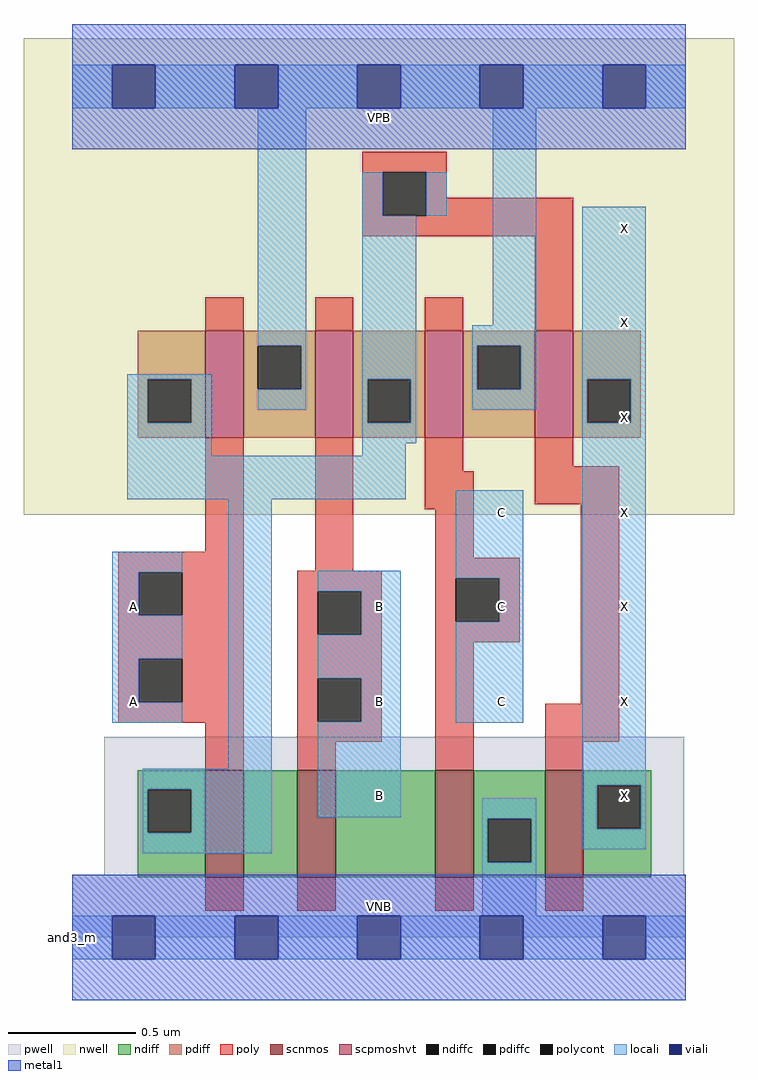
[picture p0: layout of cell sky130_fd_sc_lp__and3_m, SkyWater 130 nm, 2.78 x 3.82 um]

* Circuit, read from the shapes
.subckt sky130_fd_sc_lp__and3_m A B C VGND VNB VPB VPWR X
XM1 n1 A n2 VNB sky130_fd_pr__nfet_01v8 w=0.42 l=0.15
XM2 n3 B n1 VNB sky130_fd_pr__nfet_01v8 w=0.42 l=0.15
XM3 VGND C n3 VNB sky130_fd_pr__nfet_01v8 w=0.42 l=0.15
XM4 X n2 VGND VNB sky130_fd_pr__nfet_01v8 w=0.42 l=0.15
XM5 VPWR A n2 VPB sky130_fd_pr__pfet_01v8_hvt w=0.42 l=0.15
XM6 n2 B VPWR VPB sky130_fd_pr__pfet_01v8_hvt w=0.42 l=0.15
XM7 VPWR C n2 VPB sky130_fd_pr__pfet_01v8_hvt w=0.42 l=0.15
XM8 X n2 VPWR VPB sky130_fd_pr__pfet_01v8_hvt w=0.42 l=0.15
.ends

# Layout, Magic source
magic
tech sky130A
magscale 1 2
<< nwell >>
rect -38 331 518 704
<< pwell >>
rect 25 49 479 157
rect 0 0 480 49
<< scnmos >>
rect 104 47 134 131
rect 176 47 206 131
rect 284 47 314 131
rect 370 47 400 131
<< scpmoshvt >>
rect 104 391 134 475
rect 190 391 220 475
rect 276 391 306 475
rect 362 391 392 475
<< ndiff >>
rect 51 116 104 131
rect 51 82 59 116
rect 93 82 104 116
rect 51 47 104 82
rect 134 47 176 131
rect 206 47 284 131
rect 314 93 370 131
rect 314 59 325 93
rect 359 59 370 93
rect 314 47 370 59
rect 400 119 453 131
rect 400 85 411 119
rect 445 85 453 119
rect 400 47 453 85
<< pdiff >>
rect 51 437 104 475
rect 51 403 59 437
rect 93 403 104 437
rect 51 391 104 403
rect 134 463 190 475
rect 134 429 145 463
rect 179 429 190 463
rect 134 391 190 429
rect 220 437 276 475
rect 220 403 231 437
rect 265 403 276 437
rect 220 391 276 403
rect 306 463 362 475
rect 306 429 317 463
rect 351 429 362 463
rect 306 391 362 429
rect 392 437 445 475
rect 392 403 403 437
rect 437 403 445 437
rect 392 391 445 403
<< ndiffc >>
rect 59 82 93 116
rect 325 59 359 93
rect 411 85 445 119
<< pdiffc >>
rect 59 403 93 437
rect 145 429 179 463
rect 231 403 265 437
rect 317 429 351 463
rect 403 403 437 437
<< poly >>
rect 227 599 293 615
rect 227 565 243 599
rect 277 579 293 599
rect 277 565 392 579
rect 227 549 392 565
rect 104 475 134 501
rect 190 475 220 501
rect 276 475 306 501
rect 362 475 392 549
rect 104 302 134 391
rect 36 286 134 302
rect 190 287 220 391
rect 276 365 306 391
rect 362 369 392 391
rect 276 335 314 365
rect 362 339 428 369
rect 284 297 314 335
rect 36 252 52 286
rect 86 252 134 286
rect 36 218 134 252
rect 36 184 52 218
rect 86 184 134 218
rect 36 168 134 184
rect 104 131 134 168
rect 176 271 242 287
rect 176 237 192 271
rect 226 237 242 271
rect 176 203 242 237
rect 176 169 192 203
rect 226 169 242 203
rect 176 153 242 169
rect 284 281 350 297
rect 284 247 300 281
rect 334 247 350 281
rect 284 231 350 247
rect 176 131 206 153
rect 284 131 314 231
rect 398 183 428 339
rect 370 153 428 183
rect 370 131 400 153
rect 104 21 134 47
rect 176 21 206 47
rect 284 21 314 47
rect 370 21 400 47
<< polycont >>
rect 243 565 277 599
rect 52 252 86 286
rect 52 184 86 218
rect 192 237 226 271
rect 192 169 226 203
rect 300 247 334 281
<< locali >>
rect 0 649 31 683
rect 65 649 127 683
rect 161 649 223 683
rect 257 649 319 683
rect 353 649 415 683
rect 449 649 480 683
rect 145 463 183 649
rect 43 437 109 441
rect 43 403 59 437
rect 93 403 109 437
rect 179 429 183 463
rect 145 413 183 429
rect 227 565 243 599
rect 277 565 293 599
rect 227 437 269 565
rect 329 479 363 649
rect 43 377 109 403
rect 227 403 231 437
rect 265 403 269 437
rect 313 463 363 479
rect 313 429 317 463
rect 351 429 363 463
rect 313 413 363 429
rect 399 437 449 572
rect 227 387 269 403
rect 399 403 403 437
rect 437 403 449 437
rect 227 377 261 387
rect 43 343 261 377
rect 31 286 86 302
rect 31 252 52 286
rect 31 218 86 252
rect 31 184 52 218
rect 31 168 86 184
rect 122 132 156 343
rect 55 116 156 132
rect 55 82 59 116
rect 93 82 156 116
rect 192 271 257 287
rect 226 237 257 271
rect 192 203 257 237
rect 226 169 257 203
rect 192 94 257 169
rect 300 281 353 350
rect 334 247 353 281
rect 300 168 353 247
rect 399 119 449 403
rect 55 66 156 82
rect 321 93 363 109
rect 321 59 325 93
rect 359 59 363 93
rect 399 85 411 119
rect 445 85 449 119
rect 399 69 449 85
rect 321 17 363 59
rect 0 -17 31 17
rect 65 -17 127 17
rect 161 -17 223 17
rect 257 -17 319 17
rect 353 -17 415 17
rect 449 -17 480 17
<< viali >>
rect 31 649 65 683
rect 127 649 161 683
rect 223 649 257 683
rect 319 649 353 683
rect 415 649 449 683
rect 31 -17 65 17
rect 127 -17 161 17
rect 223 -17 257 17
rect 319 -17 353 17
rect 415 -17 449 17
<< metal1 >>
rect 0 683 480 715
rect 0 649 31 683
rect 65 649 127 683
rect 161 649 223 683
rect 257 649 319 683
rect 353 649 415 683
rect 449 649 480 683
rect 0 617 480 649
rect 0 17 480 49
rect 0 -17 31 17
rect 65 -17 127 17
rect 161 -17 223 17
rect 257 -17 319 17
rect 353 -17 415 17
rect 449 -17 480 17
rect 0 -49 480 -17
<< labels >>
flabel pwell s 0 0 480 49 0 FreeSans 200 0 0 0 VNB
port 5 nsew ground bidirectional
flabel nwell s 0 617 480 666 0 FreeSans 200 0 0 0 VPB
port 6 nsew power bidirectional
rlabel comment s 0 0 0 0 4 and3_m
flabel metal1 s 0 617 480 666 0 FreeSans 340 0 0 0 VPWR
port 7 nsew power bidirectional
flabel metal1 s 0 0 480 49 0 FreeSans 340 0 0 0 VGND
port 4 nsew ground bidirectional
flabel locali s 31 168 65 202 0 FreeSans 340 0 0 0 A
port 1 nsew signal input
flabel locali s 31 242 65 276 0 FreeSans 340 0 0 0 A
port 1 nsew signal input
flabel locali s 223 94 257 128 0 FreeSans 340 0 0 0 B
port 2 nsew signal input
flabel locali s 223 168 257 202 0 FreeSans 340 0 0 0 B
port 2 nsew signal input
flabel locali s 223 242 257 276 0 FreeSans 340 0 0 0 B
port 2 nsew signal input
flabel locali s 319 168 353 202 0 FreeSans 340 0 0 0 C
port 3 nsew signal input
flabel locali s 319 242 353 276 0 FreeSans 340 0 0 0 C
port 3 nsew signal input
flabel locali s 319 316 353 350 0 FreeSans 340 0 0 0 C
port 3 nsew signal input
flabel locali s 415 94 449 128 0 FreeSans 340 0 0 0 X
port 8 nsew signal output
flabel locali s 415 168 449 202 0 FreeSans 340 0 0 0 X
port 8 nsew signal output
flabel locali s 415 242 449 276 0 FreeSans 340 0 0 0 X
port 8 nsew signal output
flabel locali s 415 316 449 350 0 FreeSans 340 0 0 0 X
port 8 nsew signal output
flabel locali s 415 390 449 424 0 FreeSans 340 0 0 0 X
port 8 nsew signal output
flabel locali s 415 464 449 498 0 FreeSans 340 0 0 0 X
port 8 nsew signal output
flabel locali s 415 538 449 572 0 FreeSans 340 0 0 0 X
port 8 nsew signal output
<< properties >>
string LEFsite unit
string LEFclass CORE
string FIXED_BBOX 0 0 480 666
string GDS_FILE $PDKPATH/libs.ref/sky130_fd_sc_lp/gds/sky130_fd_sc_lp.gds
string LEFsymmetry X Y R90
string GDS_END 5038172
string GDS_START 5032126
<< end >>
